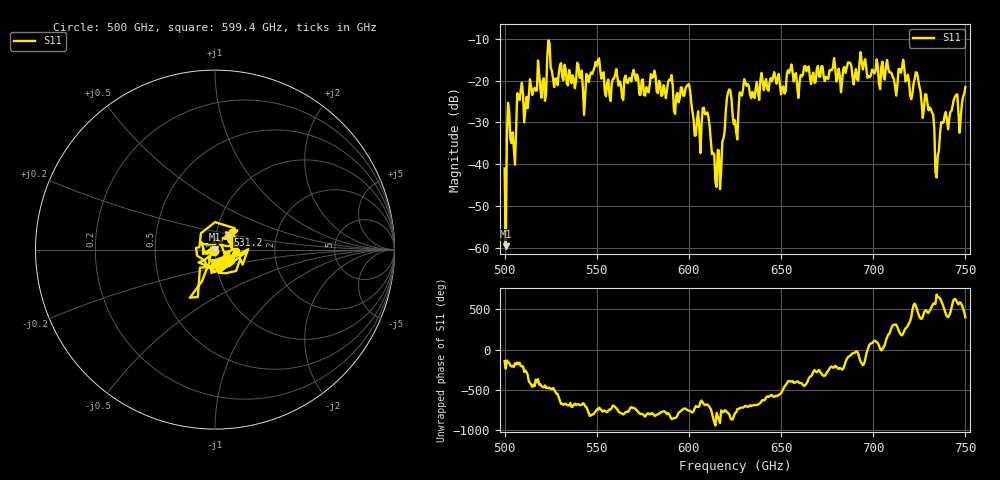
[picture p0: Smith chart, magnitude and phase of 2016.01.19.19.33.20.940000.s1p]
!Created with skrf (http://scikit-rf.org).
# GHz S RI R 50.0
!freq ReS11 ImS11
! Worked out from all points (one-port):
!   401 points, 500 GHz to 750 GHz, reference 50 ohm
!   lowest |S11| = -59.6 dB at 500.6 GHz (marker M1), VSWR 1.00, Z = 49.9 + j0.0854 ohm
!   |S11| at or under -10 dB: start of sweep to end of sweep
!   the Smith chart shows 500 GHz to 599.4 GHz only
!   S11 on the Smith chart (normalised r, x): 500 GHz: 0.99, -0.01; 531.2 GHz: 1.14, +0.19; 599.4 GHz: 1.16, -0.11
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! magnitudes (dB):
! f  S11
! 500 GHz  -41.1
! 500.6 GHz  -59.6
! 502.5 GHz  -27.5
! 505 GHz  -36.1
! 508.1 GHz  -24.6
! 521.2 GHz  -19.4
! 524.4 GHz  -11.0
! 527.5 GHz  -19.5
! 531.2 GHz  -19.1
! 543.8 GHz  -23.3
! 550 GHz  -16.5
! 562.5 GHz  -20.2
! 580.6 GHz  -19.2
! 593.8 GHz  -22.9
! 599.4 GHz  -21.0
! 605 GHz  -27.3
! 609.4 GHz  -28.0
! 615.6 GHz  -36.6
! 621.2 GHz  -22.8
! 625 GHz  -29.5
! 630.6 GHz  -20.3
! 656.2 GHz  -18.0
! 687.5 GHz  -15.7
! 718.8 GHz  -18.6
! 729.4 GHz  -25.3
! 735 GHz  -37.9
! 738.1 GHz  -30.0
! 750 GHz  -21.5
